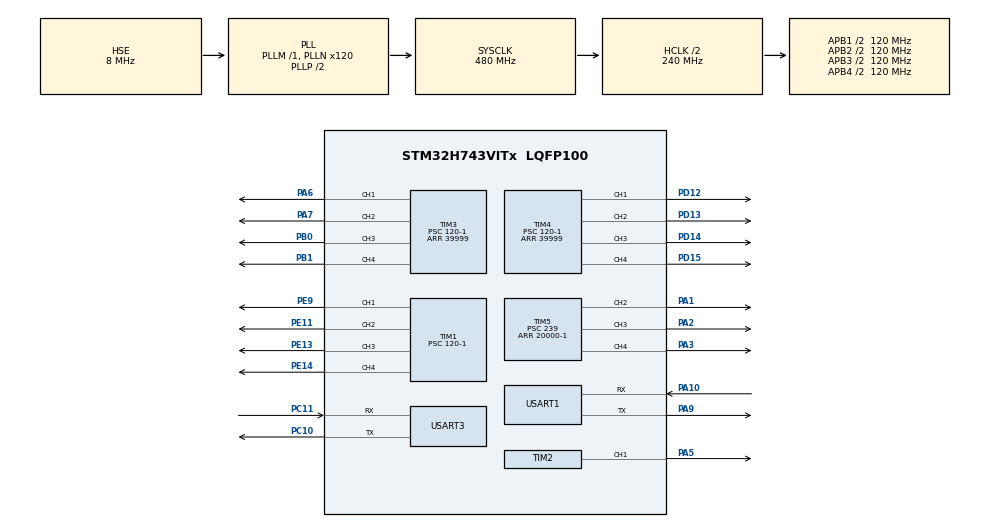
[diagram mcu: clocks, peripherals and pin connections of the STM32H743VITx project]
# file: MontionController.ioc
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CORTEX_M7.default_mode_Activation=1
Mcu.Family=STM32H7
Mcu.Name=STM32H743VITx
Mcu.Package=LQFP100
NVIC.PriorityGroup=NVIC_PRIORITYGROUP_4
NVIC.USART1_IRQn=true\:0\:0\:false\:false\:true\:true\:true\:true
PA1.Signal=S_TIM5_CH2
PA10.Mode=Asynchronous
PA10.Signal=USART1_RX
PA13\ (JTMS/SWDIO).Mode=Serial_Wire
PA13\ (JTMS/SWDIO).Signal=DEBUG_JTMS-SWDIO
PA14\ (JTCK/SWCLK).Mode=Serial_Wire
PA14\ (JTCK/SWCLK).Signal=DEBUG_JTCK-SWCLK
PA2.Signal=S_TIM5_CH3
PA3.Signal=S_TIM5_CH4
PA5.Signal=S_TIM2_CH1_ETR
PA6.Signal=S_TIM3_CH1
PA7.Signal=S_TIM3_CH2
PA9.Mode=Asynchronous
PA9.Signal=USART1_TX
PB0.Signal=S_TIM3_CH3
PB1.Signal=S_TIM3_CH4
PC10.Mode=Asynchronous
PC10.Signal=USART3_TX
PC11.Mode=Asynchronous
PC11.Signal=USART3_RX
PD12.Signal=S_TIM4_CH1
PD13.Signal=S_TIM4_CH2
PD14.Signal=S_TIM4_CH3
PD15.Signal=S_TIM4_CH4
PE11.Signal=S_TIM1_CH2
PE13.Signal=S_TIM1_CH3
PE14.Signal=S_TIM1_CH4
PE9.Signal=S_TIM1_CH1
PH0-OSC_IN\ (PH0).Mode=HSE-External-Oscillator
PH0-OSC_IN\ (PH0).Signal=RCC_OSC_IN
PH1-OSC_OUT\ (PH1).Mode=HSE-External-Oscillator
PH1-OSC_OUT\ (PH1).Signal=RCC_OSC_OUT
ProjectManager.HeapSize=0x400
ProjectManager.StackSize=0x800
ProjectManager.TargetToolchain=MDK-ARM V5.32
RCC.ADCFreq_Value=16125000
RCC.APB1Freq_Value=120000000
RCC.APB2Freq_Value=120000000
RCC.APB3Freq_Value=120000000
RCC.APB4Freq_Value=120000000
RCC.CortexFreq_Value=480000000
RCC.D1PPRE=RCC_APB3_DIV2
RCC.D2PPRE1=RCC_APB1_DIV2
RCC.D2PPRE2=RCC_APB2_DIV2
RCC.D3PPRE=RCC_APB4_DIV2
RCC.DIVM1=1
RCC.DIVN1=120
RCC.HCLKFreq_Value=240000000
RCC.HPRE=RCC_HCLK_DIV2
RCC.HSE_VALUE=8000000
RCC.PLL2FRACN=0
RCC.PLL3FRACN=0
RCC.PLLFRACN=0
RCC.PLLSourceVirtual=RCC_PLLSOURCE_HSE
RCC.SYSCLKFreq_VALUE=480000000
RCC.SYSCLKSource=RCC_SYSCLKSOURCE_PLLCLK
RCC.USBFreq_Value=480000000
SH.S_TIM1_CH1.0=TIM1_CH1,PWM Generation1 CH1
SH.S_TIM1_CH2.0=TIM1_CH2,PWM Generation2 CH2
SH.S_TIM1_CH3.0=TIM1_CH3,PWM Generation3 CH3
SH.S_TIM1_CH4.0=TIM1_CH4,PWM Generation4 CH4
SH.S_TIM2_CH1_ETR.0=TIM2_CH1,PWM Generation1 CH1
SH.S_TIM3_CH1.0=TIM3_CH1,PWM Generation1 CH1
SH.S_TIM3_CH2.0=TIM3_CH2,PWM Generation2 CH2
SH.S_TIM3_CH3.0=TIM3_CH3,PWM Generation3 CH3
SH.S_TIM3_CH4.0=TIM3_CH4,PWM Generation4 CH4
SH.S_TIM4_CH1.0=TIM4_CH1,PWM Generation1 CH1
SH.S_TIM4_CH2.0=TIM4_CH2,PWM Generation2 CH2
SH.S_TIM4_CH3.0=TIM4_CH3,PWM Generation3 CH3
SH.S_TIM4_CH4.0=TIM4_CH4,PWM Generation4 CH4
SH.S_TIM5_CH2.0=TIM5_CH2,PWM Generation2 CH2
SH.S_TIM5_CH3.0=TIM5_CH3,PWM Generation3 CH3
SH.S_TIM5_CH4.0=TIM5_CH4,PWM Generation4 CH4
TIM1.Channel-PWM\ Generation1\ CH1=TIM_CHANNEL_1
TIM1.Channel-PWM\ Generation2\ CH2=TIM_CHANNEL_2
TIM1.Channel-PWM\ Generation3\ CH3=TIM_CHANNEL_3
TIM1.Channel-PWM\ Generation4\ CH4=TIM_CHANNEL_4
TIM1.Prescaler=120-1
TIM2.Channel-PWM\ Generation1\ CH1=TIM_CHANNEL_1
TIM2.Period=40000-1
TIM2.Prescaler=120-1
TIM3.Channel-PWM\ Generation1\ CH1=TIM_CHANNEL_1
TIM3.Channel-PWM\ Generation2\ CH2=TIM_CHANNEL_2
TIM3.Channel-PWM\ Generation3\ CH3=TIM_CHANNEL_3
TIM3.Channel-PWM\ Generation4\ CH4=TIM_CHANNEL_4
TIM3.Period=39999
TIM3.Prescaler=120-1
TIM4.Channel-PWM\ Generation1\ CH1=TIM_CHANNEL_1
TIM4.Channel-PWM\ Generation2\ CH2=TIM_CHANNEL_2
TIM4.Channel-PWM\ Generation3\ CH3=TIM_CHANNEL_3
TIM4.Channel-PWM\ Generation4\ CH4=TIM_CHANNEL_4
TIM4.Period=39999
TIM4.Prescaler=120-1
TIM5.Channel-PWM\ Generation2\ CH2=TIM_CHANNEL_2
TIM5.Channel-PWM\ Generation3\ CH3=TIM_CHANNEL_3
TIM5.Channel-PWM\ Generation4\ CH4=TIM_CHANNEL_4
TIM5.Period=20000-1
TIM5.Prescaler=239
USART1.VirtualMode-Asynchronous=VM_ASYNC
USART3.VirtualMode-Asynchronous=VM_ASYNC
VP_MEMORYMAP_VS_MEMORYMAP.Mode=CurAppReg
VP_TIM1_VS_ClockSourceINT.Mode=Internal
VP_TIM2_VS_ClockSourceINT.Mode=Internal
VP_TIM3_VS_ClockSourceINT.Mode=Internal
VP_TIM4_VS_ClockSourceINT.Mode=Internal
VP_TIM5_VS_ClockSourceINT.Mode=Internal
board=custom

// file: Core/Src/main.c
/* USER CODE BEGIN Header */
/**
  ******************************************************************************
  * @file           : main.c
  * @brief          : Main program body
  ******************************************************************************
  * @attention
  *
  * Copyright (c) 2026 STMicroelectronics.
  * All rights reserved.
  *
  * This software is licensed under terms that can be found in the LICENSE file
  * in the root directory of this software component.
  * If no LICENSE file comes with this software, it is provided AS-IS.
  *
  ******************************************************************************
  */
/* USER CODE END Header */
#include "main.h"
#include "tim.h"
#include "usart.h"
#include "gpio.h"

/* USER CODE BEGIN Includes */
#include "motor.h"
#include "command.h"
#include "thrust.h"

/* USER CODE END Includes */

void SystemClock_Config(void);
static void MPU_Config(void);

/* USER CODE BEGIN 0 */
/* USER CODE BEGIN 0 */
float test_thrust[6] = {0.0f, 0.0f, 0.0f, 0.0f, 0.0f, 0.0f}; // ??????? 0
/* USER CODE END 0 */

int main(void)
{

  /* MPU Configuration--------------------------------------------------------*/
  MPU_Config();

  /* MCU Configuration--------------------------------------------------------*/

  /* Reset of all peripherals, Initializes the Flash interface and the Systick. */
  HAL_Init();

  /* Configure the system clock */
  SystemClock_Config();

  /* Initialize all configured peripherals */
  MX_GPIO_Init();
  MX_TIM1_Init();
  MX_TIM2_Init();
  MX_TIM3_Init();
  MX_TIM4_Init();
  MX_TIM5_Init();
  MX_USART1_UART_Init();
  MX_USART3_UART_Init();
  /* USER CODE BEGIN 2 */
//  CommandInit();
  MotorInit();
	  ThrustCurveInit(&(thrustcurve[0]));
    ThrustCurveInit(&(thrustcurve[1]));
    ThrustCurveInit(&(thrustcurve[2]));
    ThrustCurveInit(&(thrustcurve[3]));
    ThrustCurveInit(&(thrustcurve[4]));
    ThrustCurveInit(&(thrustcurve[5]));
		CommandInit();
  /* USER CODE END 2 */

  /* Infinite loop */
  /* USER CODE BEGIN WHILE */
  while (1)
  {

//MotorPwmRefresh(test_thrust);
HAL_Delay(10); // ????,??????(????????)

	}
    /* USER CODE END WHILE */

}

void SystemClock_Config(void)
{
  RCC_OscInitTypeDef RCC_OscInitStruct = {0};
  RCC_ClkInitTypeDef RCC_ClkInitStruct = {0};

  /** Supply configuration update enable
  */
  HAL_PWREx_ConfigSupply(PWR_LDO_SUPPLY);

  /** Configure the main internal regulator output voltage
  */
  __HAL_PWR_VOLTAGESCALING_CONFIG(PWR_REGULATOR_VOLTAGE_SCALE0);

  while(!__HAL_PWR_GET_FLAG(PWR_FLAG_VOSRDY)) {}

  /** Initializes the RCC Oscillators according to the specified parameters
  * in the RCC_OscInitTypeDef structure.
  */
  RCC_OscInitStruct.OscillatorType = RCC_OSCILLATORTYPE_HSE;
  RCC_OscInitStruct.HSEState = RCC_HSE_ON;
  RCC_OscInitStruct.PLL.PLLState = RCC_PLL_ON;
  RCC_OscInitStruct.PLL.PLLSource = RCC_PLLSOURCE_HSE;
  RCC_OscInitStruct.PLL.PLLM = 1;
  RCC_OscInitStruct.PLL.PLLN = 120;
  RCC_OscInitStruct.PLL.PLLP = 2;
  RCC_OscInitStruct.PLL.PLLQ = 2;
  RCC_OscInitStruct.PLL.PLLR = 2;
  RCC_OscInitStruct.PLL.PLLRGE = RCC_PLL1VCIRANGE_3;
  RCC_OscInitStruct.PLL.PLLVCOSEL = RCC_PLL1VCOWIDE;
  RCC_OscInitStruct.PLL.PLLFRACN = 0;
  if (HAL_RCC_OscConfig(&RCC_OscInitStruct) != HAL_OK)
  {
    Error_Handler();
  }

  /** Initializes the CPU, AHB and APB buses clocks
  */
  RCC_ClkInitStruct.ClockType = RCC_CLOCKTYPE_HCLK|RCC_CLOCKTYPE_SYSCLK
                              |RCC_CLOCKTYPE_PCLK1|RCC_CLOCKTYPE_PCLK2
                              |RCC_CLOCKTYPE_D3PCLK1|RCC_CLOCKTYPE_D1PCLK1;
  RCC_ClkInitStruct.SYSCLKSource = RCC_SYSCLKSOURCE_PLLCLK;
  RCC_ClkInitStruct.SYSCLKDivider = RCC_SYSCLK_DIV1;
  RCC_ClkInitStruct.AHBCLKDivider = RCC_HCLK_DIV2;
  RCC_ClkInitStruct.APB3CLKDivider = RCC_APB3_DIV2;
  RCC_ClkInitStruct.APB1CLKDivider = RCC_APB1_DIV2;
  RCC_ClkInitStruct.APB2CLKDivider = RCC_APB2_DIV2;
  RCC_ClkInitStruct.APB4CLKDivider = RCC_APB4_DIV2;

  if (HAL_RCC_ClockConfig(&RCC_ClkInitStruct, FLASH_LATENCY_4) != HAL_OK)
  {
    Error_Handler();
  }
}

/* USER CODE BEGIN 4 */
void HAL_UART_ErrorCallback(UART_HandleTypeDef *huart)
{
    if (huart->Instance == USART1)
    {
        // ?????,???????(?????? ORE)
        __HAL_UART_CLEAR_OREFLAG(huart);
        __HAL_UART_CLEAR_NEFLAG(huart);
        __HAL_UART_CLEAR_FEFLAG(huart);
        __HAL_UART_CLEAR_PEFLAG(huart);

        // ???????????????
        huart->RxState = HAL_UART_STATE_READY;
        huart->Lock = HAL_UNLOCKED;
        HAL_UART_Receive_IT(&huart1, uart1rec.buf + uart1rec.cnt, 1);
    }
}
/* USER CODE END 4 */

 /* MPU Configuration */

void MPU_Config(void)
{
  MPU_Region_InitTypeDef MPU_InitStruct = {0};

  /* Disables the MPU */
  HAL_MPU_Disable();

  /** Initializes and configures the Region and the memory to be protected
  */
  MPU_InitStruct.Enable = MPU_REGION_ENABLE;
  MPU_InitStruct.Number = MPU_REGION_NUMBER0;
  MPU_InitStruct.BaseAddress = 0x0;
  MPU_InitStruct.Size = MPU_REGION_SIZE_4GB;
  MPU_InitStruct.SubRegionDisable = 0x87;
  MPU_InitStruct.TypeExtField = MPU_TEX_LEVEL0;
  MPU_InitStruct.AccessPermission = MPU_REGION_NO_ACCESS;
  MPU_InitStruct.DisableExec = MPU_INSTRUCTION_ACCESS_DISABLE;
  MPU_InitStruct.IsShareable = MPU_ACCESS_SHAREABLE;
  MPU_InitStruct.IsCacheable = MPU_ACCESS_NOT_CACHEABLE;
  MPU_InitStruct.IsBufferable = MPU_ACCESS_NOT_BUFFERABLE;

  HAL_MPU_ConfigRegion(&MPU_InitStruct);
  /* Enables the MPU */
  HAL_MPU_Enable(MPU_PRIVILEGED_DEFAULT);

}

void Error_Handler(void)
{
  __disable_irq();
  while (1)
  {
  }
}
